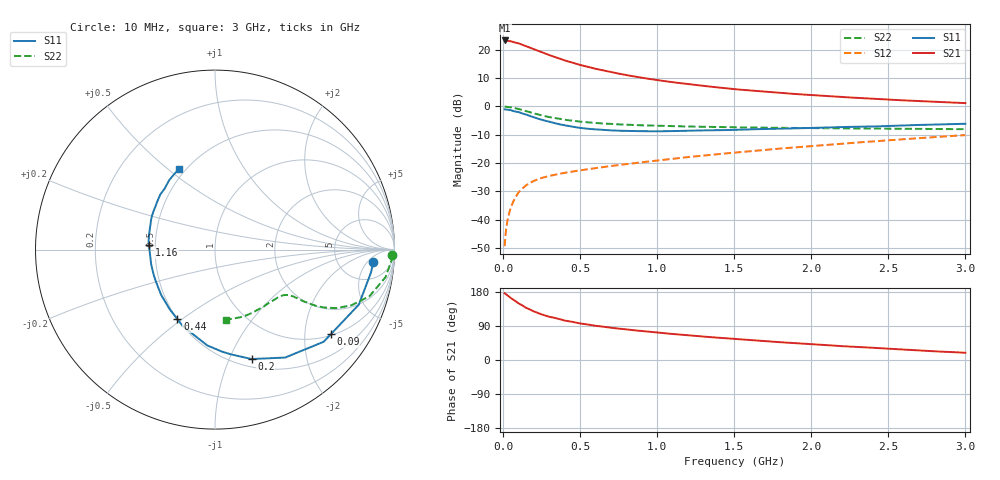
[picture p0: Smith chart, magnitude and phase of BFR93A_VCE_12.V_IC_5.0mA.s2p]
! Infineon Technologies  Discrete & RF Semiconductors
! BFR93A
! VCE =  12. V,  IC =  5.0 mA
! Common Emitter S-Parameters:  Nov 2015
# GHz  S  MA  R  50
!  f  S11  S21  S12  S22
! GHz  MAG  ANG  MAG  ANG  MAG  ANG  MAG  ANG
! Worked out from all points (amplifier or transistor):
!   180 points, 10 MHz to 3 GHz, reference 50 ohm
!   highest |S21| = 23.3 dB at 10 MHz (marker M1)
!   |S21| within 3 dB of that: start of sweep to 196.8 MHz
!   unconditionally stable (mu >= 1): 781.9 MHz to 2.535 GHz
!   at 160 MHz: K = 0.33, MSG = 24.3 dB, |S12| = -27.5 dB
!   at 1.22 GHz: K = 1.11, MAG = 10.8 dB, |S12| = -17.8 dB
!   at 3 GHz: K = 0.93, MSG = 5.6 dB, |S12| = -10.2 dB
!   S11 on the Smith chart (normalised r, x): 10 MHz: 12, -7; 90 MHz: 1.04, -2.71; 200 MHz: 0.58, -1.21; 440 MHz: 0.50, -0.48; 1.16 GHz: 0.46, +0.03; 3 GHz: 0.46, +0.55
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0.01  0.8853 -4.3  14.55 176.3  0.0034 85.6  0.9883 -1.9
0.025  0.872 -10.4  14.38 171.5  0.0084 81.6  0.9798 -4.7
0.05  0.8582 -20.9  14.09 163.5  0.0164 78.3  0.9623 -9.2
0.09  0.7991 -36.2  13.13 152.6  0.0273 70.6  0.9105 -15.2
0.1  0.794 -40.3  12.97 149.7  0.0301 69.5  0.8992 -16.8
0.15  0.7172 -57.0  11.55 137.6  0.0405 62.3  0.8212 -22.2
0.2  0.6429 -71.5  10.23 128.1  0.0484 57.9  0.7516 -25.7
0.24  0.5906 -81.3  9.259 121.9  0.0532 55.2  0.7039 -27.4
0.26  0.5701 -86.0  8.828 119.1  0.0553 54.3  0.6827 -28.1
0.3  0.5358 -94.6  8.031 114.1  0.0591 53.1  0.6453 -29.1
0.4  0.4628 -112.8  6.467 104.0  0.0671 51.7  0.5785 -30.2
0.44  0.4409 -118.3  6.021 101.3  0.0699 51.7  0.5615 -30.4
0.52  0.4103 -129.9  5.221 95.4  0.0755 52.0  0.5303 -30.7
0.6  0.3921 -139.9  4.6 90.3  0.0812 52.7  0.5076 -30.9
0.7  0.3764 -149.9  4.012 85.0  0.0884 53.7  0.488 -31.5
0.84  0.3661 -162.3  3.41 78.9  0.0984 55.4  0.4692 -32.6
1.02  0.3629 -175.3  2.855 71.7  0.1122 56.8  0.4528 -34.5
1.16  0.3691 176.0  2.548 66.7  0.1237 57.7  0.443 -36.6
1.52  0.3853 158.6  1.988 54.9  0.154 58.9  0.4259 -42.8
2.02  0.4176 140.7  1.569 41.3  0.201 58.6  0.4123 -53.8
2.52  0.4529 126.2  1.309 29.5  0.2539 56.5  0.4043 -66.6
3  0.4924 113.7  1.14 19.1  0.3108 53.0  0.3962 -81.5
